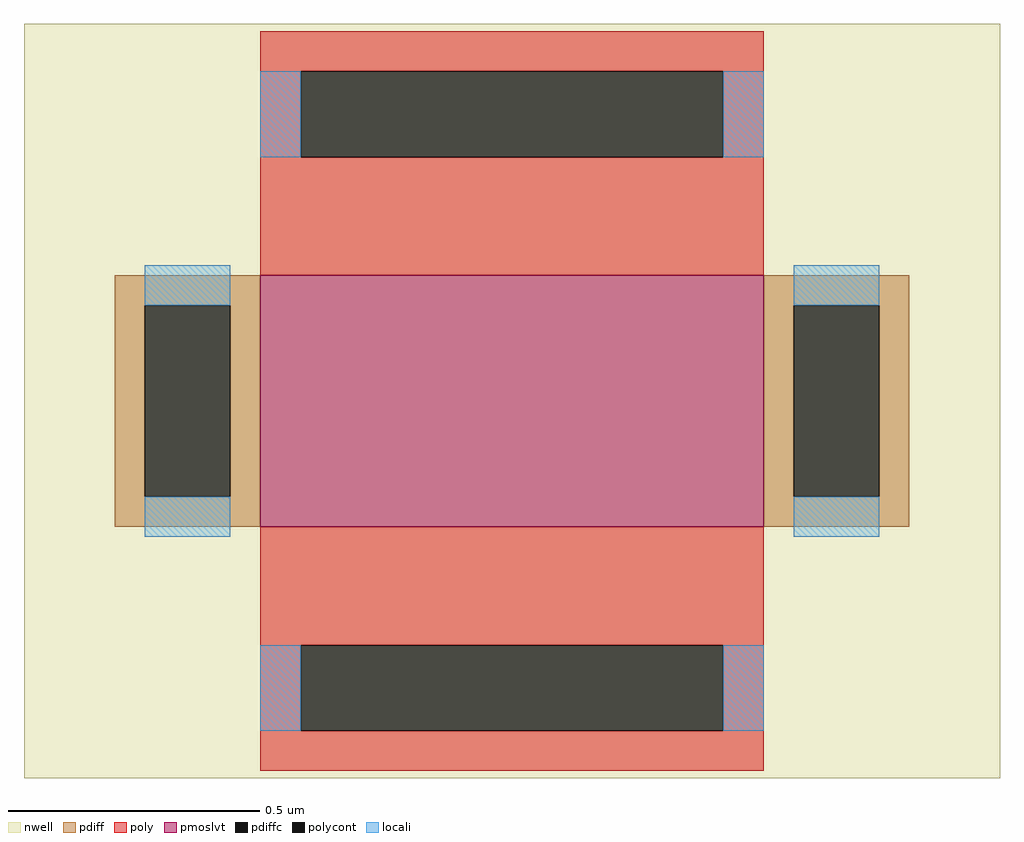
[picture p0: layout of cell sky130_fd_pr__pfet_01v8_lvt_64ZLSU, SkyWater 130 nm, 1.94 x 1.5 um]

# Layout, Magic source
magic
tech sky130A
magscale 1 2
<< nwell >>
rect -194 -150 194 150
<< pmoslvt >>
rect -100 -50 100 50
<< pdiff >>
rect -158 38 -100 50
rect -158 -38 -146 38
rect -112 -38 -100 38
rect -158 -50 -100 -38
rect 100 38 158 50
rect 100 -38 112 38
rect 146 -38 158 38
rect 100 -50 158 -38
<< pdiffc >>
rect -146 -38 -112 38
rect 112 -38 146 38
<< poly >>
rect -100 131 100 147
rect -100 97 -84 131
rect 84 97 100 131
rect -100 50 100 97
rect -100 -97 100 -50
rect -100 -131 -84 -97
rect 84 -131 100 -97
rect -100 -147 100 -131
<< polycont >>
rect -84 97 84 131
rect -84 -131 84 -97
<< locali >>
rect -100 97 -84 131
rect 84 97 100 131
rect -146 38 -112 54
rect -146 -54 -112 -38
rect 112 38 146 54
rect 112 -54 146 -38
rect -100 -131 -84 -97
rect 84 -131 100 -97
<< properties >>
string gencell sky130_fd_pr__pfet_01v8_lvt
string library sky130
string parameters w 0.5 l 1.0 m 1 nf 1 diffcov 100 polycov 100 guard 0 glc 1 grc 1 gtc 1 gbc 1 tbcov 100 rlcov 100 topc 0 botc 0 poverlap 1 doverlap 1 lmin 0.35 wmin 0.42 class mosfet compatible {sky130_fd_pr__pfet_01v8  sky130_fd_pr__pfet_01v8_lvt sky130_fd_pr__pfet_01v8_hvt  sky130_fd_pr__pfet_g5v0d10v5} full_metal 1 viasrc 0 viadrn 0 viagate 0 viagb 0 viagr 0 viagl 0 viagt 0
<< end >>
